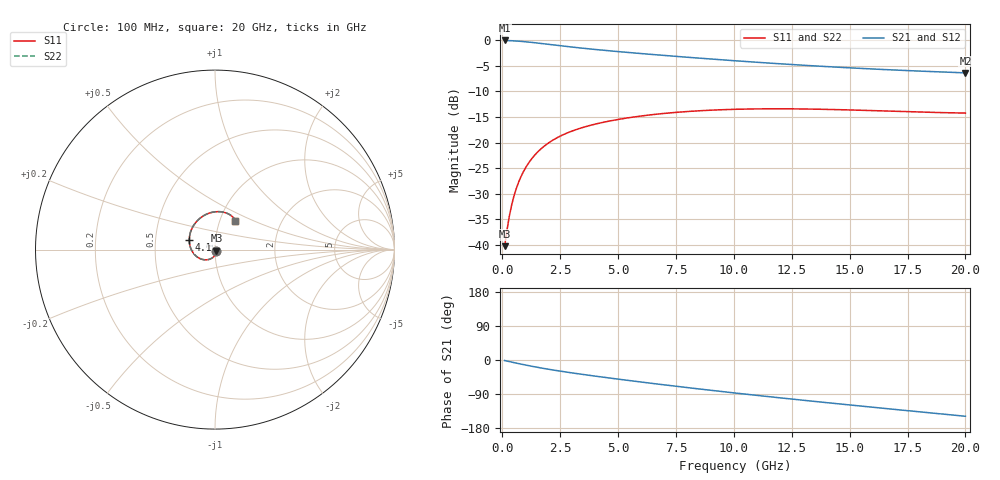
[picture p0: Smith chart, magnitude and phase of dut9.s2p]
! Touchstone file exported from HFSS 2024.1.0
!  File:  C:/UserFiles/LocalFiles/RDL_TSV_Batchsim/temp_RDL_TSV_9_1779397236.aedt
!  Generated:  05:13:43 AM May 22, 2026
!  Design:  RDL_TSV
!  Project:  temp_RDL_TSV_9_1779397236
!  Setup:  Setup1
!  Solution:  Sweep
! Variables:
!  dtsv = 11.55um
!  hbump = 3um
!  htsv = 77.41um
!  ldown = 462.15um
!  lrdl = 146.81um
!  p = 40
!  p1 = 40.06um
!  rhole = 10um
!  subl = 1973.69um
!  t = 450um
!  tdown = 4.66um
!  trdl = 3.62um
!  viad = 10um
!  wdown = 29.84um
!  wrdl = 15.93um
!  xbump = 18um
# GHz S MA R 50.000000
! Terminal data exported
! Port[1] = TM1_1_T1
! Port[2] = TM1_4_T1
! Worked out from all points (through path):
!   200 points, 100 MHz to 20 GHz, reference 50 ohm
!   highest |S21| = -0.08 dB at 100 MHz (marker M1); lowest = -6.4 dB at 20 GHz (marker M2)
!   group delay of S21, straight-line fit = 19.5 ps
!   lowest |S11| = -40.2 dB at 100 MHz (marker M3), VSWR 1.02, Z = 50.8 - j0.567 ohm
!   |S11| at or under -10 dB: start of sweep to end of sweep
!   |S22| runs from -40.2 to -13.4 dB; largest |S21 - S12| = 1.4e-14
!   S11 on the Smith chart (normalised r, x): 100 MHz: 1.02, -0.01; 4.1 GHz: 0.75, +0.08; 20 GHz: 1.19, +0.39
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0.1  0.009734 -34.9  0.9913 -1.4  0.9913 -1.4  0.009734 -34.9
! Gamma 0 0 0 0
! Port Impedance 50 0 50 0
0.2  0.01382 -57.0  0.9897 -2.8  0.9897 -2.8  0.01382 -57.0
0.3  0.01888 -70.9  0.9876 -4.2  0.9876 -4.2  0.01888 -70.9
0.4  0.02429 -80.8  0.9852 -5.5  0.9852 -5.5  0.02429 -80.8
0.5  0.0298 -88.5  0.9824 -6.8  0.9824 -6.8  0.0298 -88.5
0.6  0.0353 -95.0  0.9792 -8.2  0.9792 -8.2  0.0353 -95.0
0.8  0.04607 -105.8  0.9717 -10.7  0.9717 -10.7  0.04607 -105.8
1.1  0.06134 -119.2  0.958 -14.4  0.958 -14.4  0.06134 -119.2
1.5  0.07965 -134.3  0.9368 -19.1  0.9368 -19.1  0.07966 -134.3
2  0.09919 -150.5  0.9084 -24.5  0.9084 -24.5  0.09921 -150.5
2.7  0.1212 -169.8  0.8702 -31.2  0.8702 -31.2  0.1212 -169.9
3.5  0.1408 171.6  0.8315 -38.3  0.8315 -38.3  0.1408 171.6
4.1  0.1528 159.7  0.8059 -43.3  0.8059 -43.3  0.1529 159.7
5.4  0.1737 138.0  0.7579 -53.6  0.7579 -53.6  0.1739 137.9
6.8  0.1905 119.3  0.7135 -64.2  0.7135 -64.2  0.1907 119.3
8.4  0.2035 102.3  0.6688 -75.7  0.6688 -75.7  0.2039 102.3
10.1  0.2111 88.1  0.6269 -87.4  0.6269 -87.4  0.2116 88.1
11.7  0.2134 77.5  0.5925 -98.0  0.5925 -98.0  0.2139 77.5
13.4  0.2119 68.8  0.5609 -108.8  0.5609 -108.8  0.2125 68.8
15  0.208 62.7  0.5357 -118.6  0.5357 -118.6  0.2087 62.7
16.7  0.2026 58.1  0.5129 -128.9  0.5129 -128.9  0.2034 58.1
20  0.1938 54.2  0.4787 -148.5  0.4787 -148.5  0.1946 54.1
